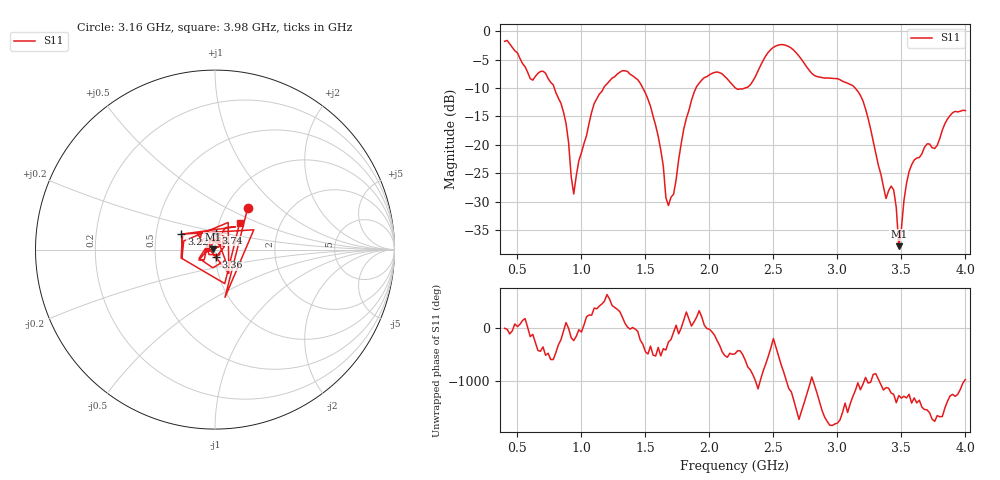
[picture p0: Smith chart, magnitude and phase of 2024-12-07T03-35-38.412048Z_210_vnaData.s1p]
!Created with skrf (http://scikit-rf.org).
# Hz S RI R 50.0
!freq ReS11 ImS11
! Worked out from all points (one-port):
!   181 points, 400 MHz to 4 GHz, reference 50 ohm
!   lowest |S11| = -37.9 dB at 3.48 GHz (marker M1), VSWR 1.03, Z = 48.7 + j0.161 ohm
!   |S11| at or under -10 dB: 788.1 MHz to 1.174 GHz (386 MHz wide, 39.3 % of centre); 1.479 GHz to 1.896 GHz (416.5 MHz wide, 24.7 % of centre); 3.137 GHz to end of sweep (the widest 3 of 4)
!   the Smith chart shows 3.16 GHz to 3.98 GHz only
!   S11 on the Smith chart (normalised r, x): 3.16 GHz: 1.26, +0.64; 3.22 GHz: 0.68, +0.12; 3.36 GHz: 1.00, -0.09; 3.74 GHz: 0.99, +0.19; 3.98 GHz: 1.25, +0.38
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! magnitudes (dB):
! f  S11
! 400 MHz  -1.8
! 600 MHz  -8.4
! 720 MHz  -7.4
! 860 MHz  -14.2
! 940 MHz  -28.7
! 1.1 GHz  -12.7
! 1.3 GHz  -7.2
! 1.52 GHz  -12.0
! 1.6 GHz  -18.5
! 1.68 GHz  -30.7
! 1.76 GHz  -22.6
! 1.92 GHz  -9.2
! 2.06 GHz  -7.2
! 2.2 GHz  -10.0
! 2.32 GHz  -9.4
! 2.5 GHz  -2.9
! 2.66 GHz  -3.4
! 2.82 GHz  -7.8
! 3.1 GHz  -9.4
! 3.16 GHz  -10.6
! 3.22 GHz  -13.7
! 3.36 GHz  -27.4
! 3.44 GHz  -28.0
! 3.48 GHz  -37.9
! 3.56 GHz  -24.7
! 3.74 GHz  -20.5
! 3.98 GHz  -13.9
! 4 GHz  -14.0
